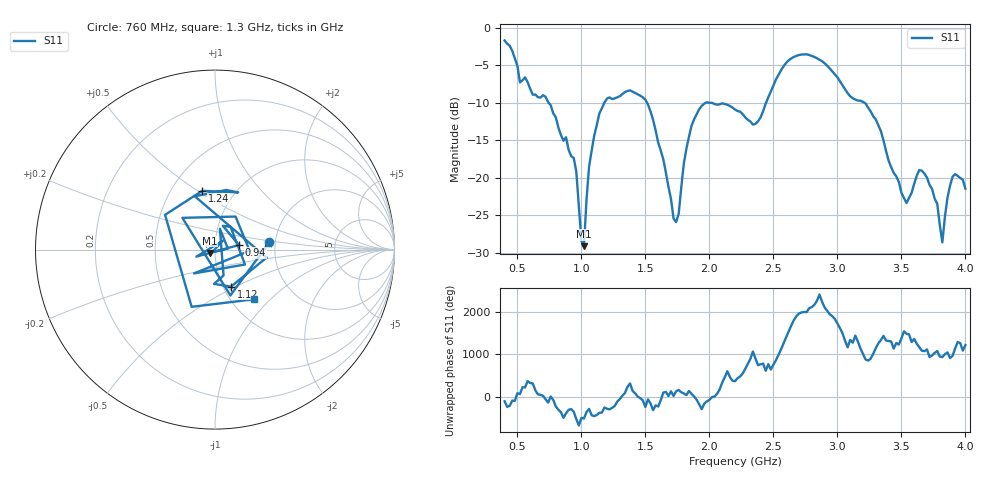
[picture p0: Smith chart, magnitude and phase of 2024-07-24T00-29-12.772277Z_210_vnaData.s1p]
!Created with skrf (http://scikit-rf.org).
# Hz S RI R 50.0
!freq ReS11 ImS11
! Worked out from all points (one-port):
!   181 points, 400 MHz to 4 GHz, reference 50 ohm
!   lowest |S11| = -29.1 dB at 1.02 GHz (marker M1), VSWR 1.07, Z = 47.1 - j1.73 ohm
!   |S11| at or under -10 dB: 745.2 MHz to 1.179 GHz (433.7 MHz wide, 45.1 % of centre); 1.513 GHz to 1.971 GHz (457.8 MHz wide, 26.3 % of centre); 3.213 GHz to end of sweep (the widest 3 of 4)
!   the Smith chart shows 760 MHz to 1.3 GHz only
!   S11 on the Smith chart (normalised r, x): 760 MHz: 1.86, +0.17; 940 MHz: 1.31, +0.07; 1.12 GHz: 1.09, -0.47; 1.24 GHz: 0.71, +0.52; 1.3 GHz: 1.26, -0.80
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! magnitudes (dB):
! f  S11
! 400 MHz  -1.7
! 520 MHz  -7.3
! 760 MHz  -10.3
! 860 MHz  -15.0
! 940 MHz  -17.3
! 1 GHz  -28.4
! 1.02 GHz  -29.1
! 1.06 GHz  -18.5
! 1.12 GHz  -13.0
! 1.24 GHz  -9.5
! 1.3 GHz  -9.1
! 1.52 GHz  -10.2
! 1.72 GHz  -25.4
! 1.76 GHz  -24.8
! 1.82 GHz  -16.1
! 1.92 GHz  -10.8
! 2.2 GHz  -10.9
! 2.36 GHz  -12.8
! 2.66 GHz  -3.9
! 2.88 GHz  -4.4
! 3.1 GHz  -9.1
! 3.3 GHz  -12.2
! 3.56 GHz  -22.7
! 3.68 GHz  -19.4
! 3.78 GHz  -23.4
! 3.82 GHz  -28.6
! 3.9 GHz  -19.8
! 4 GHz  -21.4
